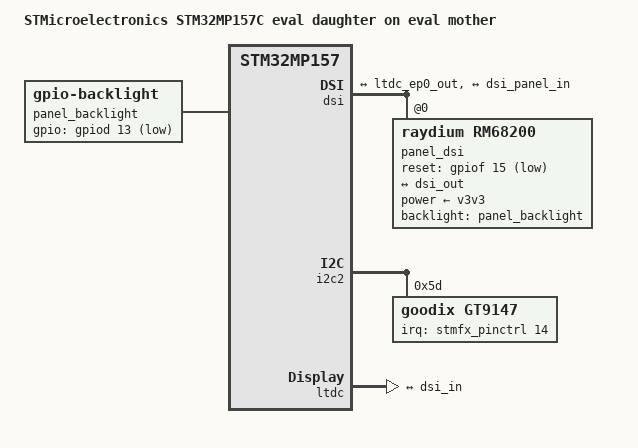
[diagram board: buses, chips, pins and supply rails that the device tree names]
// SPDX-License-Identifier: (GPL-2.0+ OR BSD-3-Clause)
/*
 * Copyright (C) STMicroelectronics 2019 - All Rights Reserved
 * Author: Alexandre Torgue <alexandre.torgue@st.com> for STMicroelectronics.
 */
/dts-v1/;

#include "stm32mp157c-ed1.dts"
#include "stm32mp15xx-evx.dtsi"

/ {
	model = "STMicroelectronics STM32MP157C eval daughter on eval mother";
	compatible = "st,stm32mp157c-ev1", "st,stm32mp157c-ed1", "st,stm32mp157";

	chosen {
		#address-cells = <1>;
		#size-cells = <1>;
		ranges;
		stdout-path = "serial0:115200n8";

		framebuffer {
			compatible = "simple-framebuffer";
			clocks = <&rcc LTDC_PX>;
			status = "disabled";
		};
	};

	panel_backlight: panel-backlight {
		compatible = "gpio-backlight";
		gpios = <&gpiod 13 GPIO_ACTIVE_LOW>;
		default-on;
		status = "okay";
	};
};

&dsi {
	#address-cells = <1>;
	#size-cells = <0>;
	status = "okay";

	ports {
		#address-cells = <1>;
		#size-cells = <0>;

		port@0 {
			reg = <0>;
			dsi_in: endpoint {
				remote-endpoint = <&ltdc_ep0_out>;
			};
		};

		port@1 {
			reg = <1>;
			dsi_out: endpoint {
				remote-endpoint = <&dsi_panel_in>;
			};
		};
	};

	panel_dsi: panel-dsi@0 {
		compatible = "raydium,rm68200";
		reg = <0>;
		reset-gpios = <&gpiof 15 GPIO_ACTIVE_LOW>;
		backlight = <&panel_backlight>;
		power-supply = <&v3v3>;
		status = "okay";

		port {
			dsi_panel_in: endpoint {
				remote-endpoint = <&dsi_out>;
			};
		};
	};
};

&i2c2 {
	gt9147: goodix_ts@5d {
		compatible = "goodix,gt9147";
		reg = <0x5d>;
		panel = <&panel_dsi>;
		pinctrl-0 = <&goodix_pins>;
		pinctrl-names = "default";
		status = "okay";

		interrupts = <14 IRQ_TYPE_EDGE_RISING>;
		interrupt-parent = <&stmfx_pinctrl>;
	};
};

&ltdc {
	status = "okay";

	port {
		ltdc_ep0_out: endpoint@0 {
			reg = <0>;
			remote-endpoint = <&dsi_in>;
		};
	};
};
